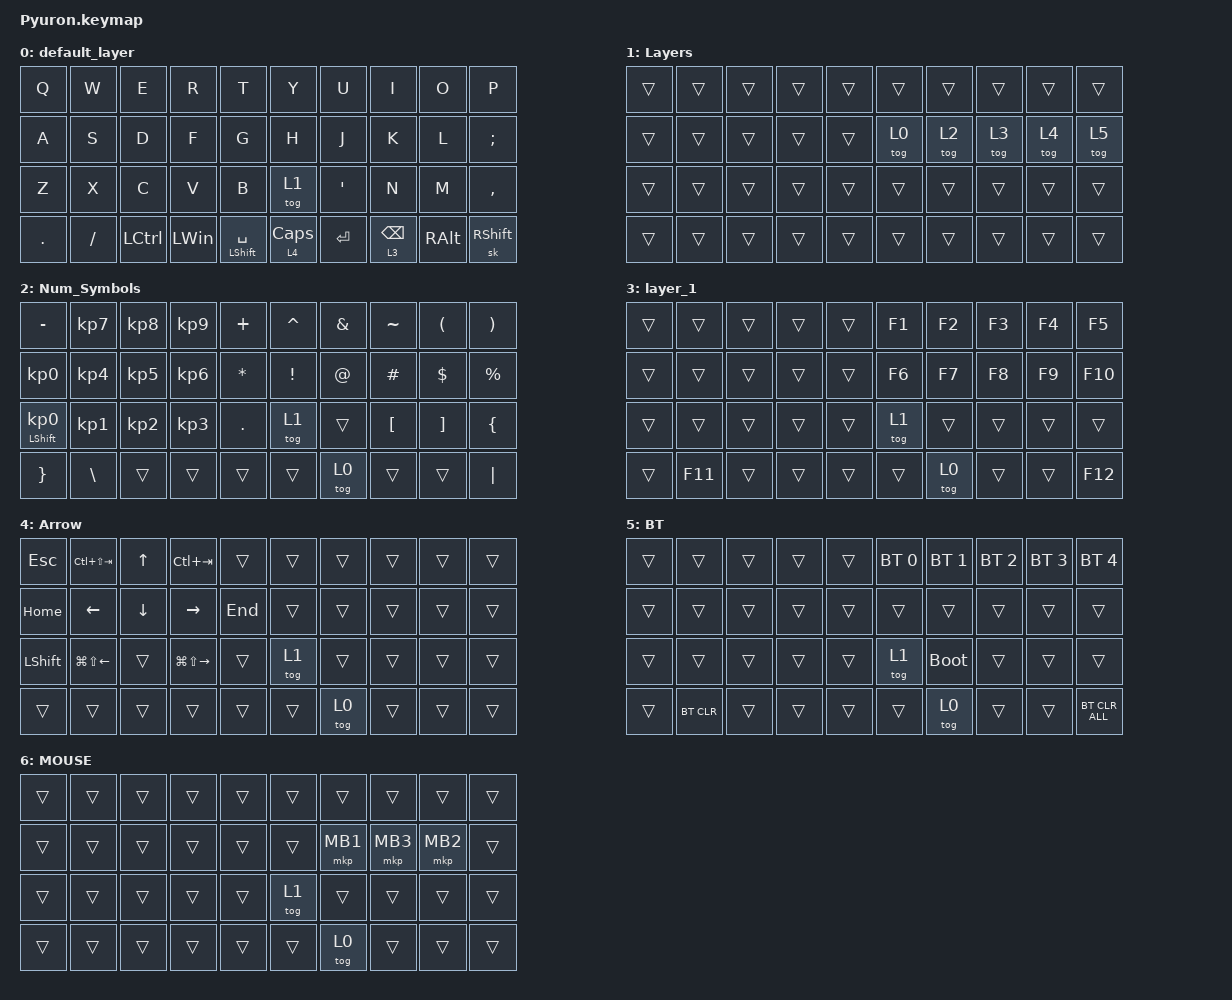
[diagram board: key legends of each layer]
#include <behaviors.dtsi>
#include <dt-bindings/zmk/bt.h>
#include <dt-bindings/zmk/keys.h>
#include <dt-bindings/zmk/pointing.h>

#define MOUSE 6

&mt {
    flavor = "balanced";
    quick-tap-ms = <0>;
};

/ {
    combos { compatible = "zmk,combos"; };

    macros {
        to_layer_0: to_layer_0 {
            compatible = "zmk,behavior-macro-one-param";
            #binding-cells = <1>;
            bindings = <&to 0 &macro_param_1to1 &kp MACRO_PLACEHOLDER>;
            label = "TO_LAYER_0";
        };
    };

    lt_to_layer_0: lt_to_layer_0 {
        compatible = "zmk,behavior-hold-tap";
        label = "LAYER_TAP_TO_0";
        bindings = <&mo>, <&to_layer_0>;

        #binding-cells = <2>;
        tapping-term-ms = <200>;
    };
};

/ {
    behaviors {
    };

    keymap {
        compatible = "zmk,keymap";

        default_layer {
            bindings = <
&kp Q    &kp W      &kp E      &kp R         &kp T                 &kp Y           &kp U      &kp I            &kp O          &kp P
&kp A    &kp S      &kp D      &kp F         &kp G                 &kp H           &kp J      &kp K            &kp L          &kp SEMICOLON
&kp Z    &kp X      &kp C      &kp V         &kp B                 &tog 1          &kp APOS   &kp N            &kp M          &kp COMMA
&kp DOT  &kp SLASH  &kp LCTRL  &kp LEFT_WIN  &mt LEFT_SHIFT SPACE  &lt 4 CAPSLOCK  &kp ENTER  &lt 3 BACKSPACE  &kp RIGHT_ALT  &sk RIGHT_SHIFT
            >;
        };

        Layers {
            bindings = <
&trans  &trans  &trans  &trans  &trans  &trans  &trans  &trans  &trans  &trans
&trans  &trans  &trans  &trans  &trans  &tog 0  &tog 2  &tog 3  &tog 4  &tog 5
&trans  &trans  &trans  &trans  &trans  &trans  &trans  &trans  &trans  &trans
&trans  &trans  &trans  &trans  &trans  &trans  &trans  &trans  &trans  &trans
            >;
        };

        Num_Symbols {
            bindings = <
&kp MINUS                   &kp KP_NUMBER_7  &kp KP_NUMBER_8  &kp KP_NUMBER_9  &kp PLUS      &kp CARET        &kp AMPERSAND  &kp TILDE         &kp LEFT_PARENTHESIS  &kp RIGHT_PARENTHESIS
&kp KP_NUMBER_0             &kp KP_NUMBER_4  &kp KP_NUMBER_5  &kp KP_NUMBER_6  &kp ASTERISK  &kp EXCLAMATION  &kp AT_SIGN    &kp HASH          &kp DOLLAR            &kp PERCENT
&mt LEFT_SHIFT KP_NUMBER_0  &kp KP_NUMBER_1  &kp KP_NUMBER_2  &kp KP_NUMBER_3  &kp PERIOD    &tog 1           &trans         &kp LEFT_BRACKET  &kp RIGHT_BRACKET     &kp LEFT_BRACE
&kp RIGHT_BRACE             &kp BACKSLASH    &trans           &trans           &trans        &trans           &tog 0         &trans            &trans                &kp PIPE
            >;
        };

        layer_1 {
            bindings = <
&trans  &trans   &trans  &trans  &trans  &kp F1  &kp F2  &kp F3  &kp F4  &kp F5
&trans  &trans   &trans  &trans  &trans  &kp F6  &kp F7  &kp F8  &kp F9  &kp F10
&trans  &trans   &trans  &trans  &trans  &tog 1  &trans  &trans  &trans  &trans
&trans  &kp F11  &trans  &trans  &trans  &trans  &tog 0  &trans  &trans  &kp F12
            >;
        };

        Arrow {
            bindings = <
&kp ESCAPE      &kp LC(LS(TAB))         &kp UP_ARROW    &kp LC(TAB)              &trans   &trans  &trans  &trans  &trans  &trans
&kp HOME        &kp LEFT_ARROW          &kp DOWN_ARROW  &kp RIGHT_ARROW          &kp END  &trans  &trans  &trans  &trans  &trans
&kp LEFT_SHIFT  &kp LG(LS(LEFT_ARROW))  &trans          &kp LG(LS(RIGHT_ARROW))  &trans   &tog 1  &trans  &trans  &trans  &trans
&trans          &trans                  &trans          &trans                   &trans   &trans  &tog 0  &trans  &trans  &trans
            >;
        };

        BT {
            bindings = <
&trans  &trans      &trans  &trans  &trans  &bt BT_SEL 0  &bt BT_SEL 1  &bt BT_SEL 2  &bt BT_SEL 3  &bt BT_SEL 4
&trans  &trans      &trans  &trans  &trans  &trans        &trans        &trans        &trans        &trans
&trans  &trans      &trans  &trans  &trans  &tog 1        &bootloader   &trans        &trans        &trans
&trans  &bt BT_CLR  &trans  &trans  &trans  &trans        &tog 0        &trans        &trans        &bt BT_CLR_ALL
            >;
        };

        MOUSE {
            bindings = <
&trans  &trans  &trans  &trans  &trans  &trans  &trans    &trans    &trans    &trans
&trans  &trans  &trans  &trans  &trans  &trans  &mkp MB1  &mkp MB3  &mkp MB2  &trans
&trans  &trans  &trans  &trans  &trans  &tog 1  &trans    &trans    &trans    &trans
&trans  &trans  &trans  &trans  &trans  &trans  &tog 0    &trans    &trans    &trans
            >;
        };
    };
};
